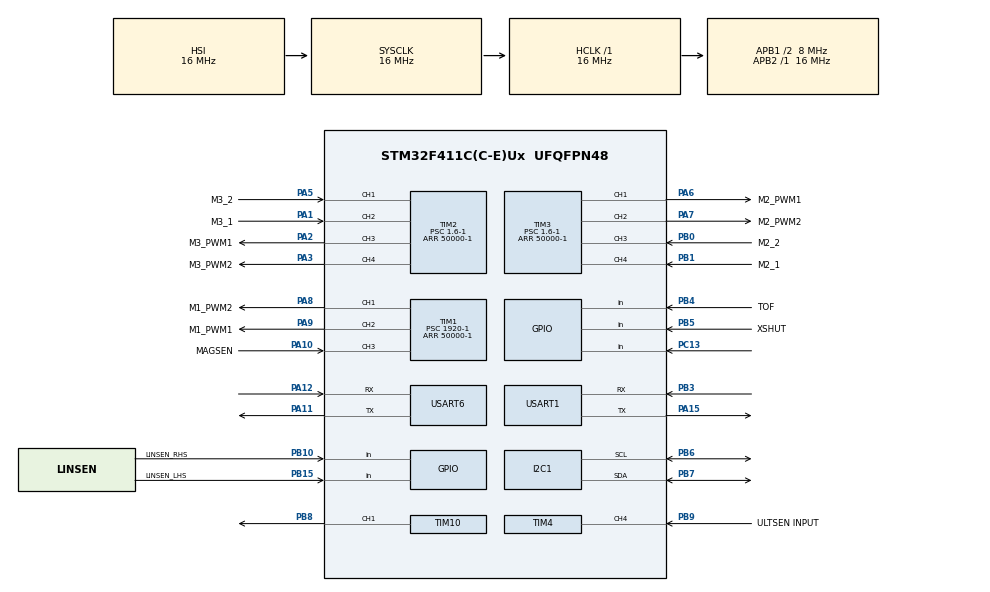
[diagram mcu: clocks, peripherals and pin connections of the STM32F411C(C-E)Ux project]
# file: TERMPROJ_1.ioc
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Mcu.Family=STM32F4
Mcu.Name=STM32F411C(C-E)Ux
Mcu.Package=UFQFPN48
NVIC.PriorityGroup=NVIC_PRIORITYGROUP_4
NVIC.TIM2_IRQn=true\:0\:0\:false\:false\:true\:true\:true\:true
NVIC.TIM3_IRQn=true\:0\:0\:false\:false\:true\:true\:true\:true
NVIC.TIM4_IRQn=true\:0\:0\:false\:false\:true\:true\:true\:true
PA1.GPIO_Label=M3_1
PA1.Signal=S_TIM2_CH2
PA10.GPIO_Label=MAGSEN
PA10.Signal=S_TIM1_CH3
PA11.Mode=Asynchronous
PA11.Signal=USART6_TX
PA12.Mode=Asynchronous
PA12.Signal=USART6_RX
PA13.Mode=Serial_Wire
PA13.Signal=SYS_JTMS-SWDIO
PA14.Mode=Serial_Wire
PA14.Signal=SYS_JTCK-SWCLK
PA15.Mode=Asynchronous
PA15.Signal=USART1_TX
PA2.GPIO_Label=M3_PWM1
PA2.Signal=S_TIM2_CH3
PA3.GPIO_Label=M3_PWM2
PA3.Signal=S_TIM2_CH4
PA5.GPIO_Label=M3_2
PA5.Signal=S_TIM2_CH1_ETR
PA6.GPIO_Label=M2_PWM1
PA6.Signal=S_TIM3_CH1
PA7.GPIO_Label=M2_PWM2
PA7.Signal=S_TIM3_CH2
PA8.GPIO_Label=M1_PWM2
PA8.Signal=S_TIM1_CH1
PA9.GPIO_Label=M1_PWM1
PA9.Signal=S_TIM1_CH2
PB0.GPIO_Label=M2_2
PB0.Signal=S_TIM3_CH3
PB1.GPIO_Label=M2_1
PB1.Signal=S_TIM3_CH4
PB10.GPIO_Label=LINSEN_RHS
PB10.Signal=GPIO_Input
PB15.GPIO_Label=LINSEN_LHS
PB15.Signal=GPIO_Input
PB3.Mode=Asynchronous
PB3.Signal=USART1_RX
PB4.GPIO_Label=TOF
PB4.Signal=GPIO_Input
PB5.GPIO_Label=XSHUT
PB5.Signal=GPIO_Input
PB6.Mode=I2C
PB6.Signal=I2C1_SCL
PB7.Mode=I2C
PB7.Signal=I2C1_SDA
PB8.Signal=S_TIM10_CH1
PB9.GPIO_Label=ULTSEN INPUT
PB9.Signal=S_TIM4_CH4
PC13-ANTI_TAMP.Signal=GPIO_Input
ProjectManager.HeapSize=0x200
ProjectManager.StackSize=0x400
ProjectManager.TargetToolchain=STM32CubeIDE
RCC.48MHZClocksFreq_Value=30720000
RCC.AHBFreq_Value=16000000
RCC.APB1CLKDivider=RCC_HCLK_DIV2
RCC.APB1Freq_Value=8000000
RCC.APB1TimFreq_Value=16000000
RCC.APB2Freq_Value=16000000
RCC.APB2TimFreq_Value=16000000
RCC.CortexFreq_Value=16000000
RCC.HCLKFreq_Value=16000000
RCC.HSE_VALUE=25000000
RCC.HSI_VALUE=16000000
RCC.PLLM=25
RCC.SYSCLKFreq_VALUE=16000000
RCC.VCOOutputFreq_Value=122880000
SH.S_TIM10_CH1.0=TIM10_CH1,PWM Generation1 CH1
SH.S_TIM1_CH1.0=TIM1_CH1,PWM Generation1 CH1
SH.S_TIM1_CH2.0=TIM1_CH2,PWM Generation2 CH2
SH.S_TIM1_CH3.0=TIM1_CH3,Input_Capture3_from_TI3
SH.S_TIM2_CH1_ETR.0=TIM2_CH1,Input_Capture1_from_TI1
SH.S_TIM2_CH2.0=TIM2_CH2,Input_Capture2_from_TI2
SH.S_TIM2_CH3.0=TIM2_CH3,PWM Generation3 CH3
SH.S_TIM2_CH4.0=TIM2_CH4,PWM Generation4 CH4
SH.S_TIM3_CH1.0=TIM3_CH1,PWM Generation1 CH1
SH.S_TIM3_CH2.0=TIM3_CH2,PWM Generation2 CH2
SH.S_TIM3_CH3.0=TIM3_CH3,Input_Capture3_from_TI3
SH.S_TIM3_CH4.0=TIM3_CH4,Input_Capture4_from_TI4
SH.S_TIM4_CH4.0=TIM4_CH4,Input_Capture4_from_TI4
TIM1.Channel-Input_Capture3_from_TI3=TIM_CHANNEL_3
TIM1.Channel-PWM\ Generation1\ CH1=TIM_CHANNEL_1
TIM1.Channel-PWM\ Generation2\ CH2=TIM_CHANNEL_2
TIM1.ICPolarity_CH3=TIM_INPUTCHANNELPOLARITY_BOTHEDGE
TIM1.Period=50000-1
TIM1.Prescaler=1920-1
TIM10.Channel=TIM_CHANNEL_1
TIM10.OCFastMode_PWM=TIM_OCFAST_DISABLE
TIM10.Period=10000-1
TIM10.Prescaler=16-1
TIM2.Channel-Input_Capture1_from_TI1=TIM_CHANNEL_1
TIM2.Channel-Input_Capture2_from_TI2=TIM_CHANNEL_2
TIM2.Channel-PWM\ Generation3\ CH3=TIM_CHANNEL_3
TIM2.Channel-PWM\ Generation4\ CH4=TIM_CHANNEL_4
TIM2.ICPolarity_CH1=TIM_INPUTCHANNELPOLARITY_BOTHEDGE
TIM2.ICPolarity_CH2=TIM_INPUTCHANNELPOLARITY_BOTHEDGE
TIM2.Period=50000-1
TIM2.Prescaler=1.6-1
TIM3.Channel-Input_Capture3_from_TI3=TIM_CHANNEL_3
TIM3.Channel-Input_Capture4_from_TI4=TIM_CHANNEL_4
TIM3.Channel-PWM\ Generation1\ CH1=TIM_CHANNEL_1
TIM3.Channel-PWM\ Generation2\ CH2=TIM_CHANNEL_2
TIM3.ICPolarity_CH3=TIM_INPUTCHANNELPOLARITY_BOTHEDGE
TIM3.ICPolarity_CH4=TIM_INPUTCHANNELPOLARITY_BOTHEDGE
TIM3.Period=50000-1
TIM3.Prescaler=1.6-1
TIM4.AutoReloadPreload=TIM_AUTORELOAD_PRELOAD_ENABLE
TIM4.Channel-Input_Capture4_from_TI4=TIM_CHANNEL_4
TIM4.ICPolarity_CH4=TIM_INPUTCHANNELPOLARITY_BOTHEDGE
TIM4.Period=10000-1
TIM4.Prescaler=16-1
USART1.VirtualMode=VM_ASYNC
USART6.VirtualMode=VM_ASYNC
VP_TIM10_VS_ClockSourceINT.Mode=Enable_Timer
VP_TIM4_VS_ClockSourceINT.Mode=Internal
board=custom

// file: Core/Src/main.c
/* USER CODE BEGIN Header */
/**
  ******************************************************************************
  * @file           : main.c
  * @brief          : Main program body
  ******************************************************************************
  * @attention
  *
  * Copyright (c) 2023 STMicroelectronics.
  * All rights reserved.
  *
  * This software is licensed under terms that can be found in the LICENSE file
  * in the root directory of this software component.
  * If no LICENSE file comes with this software, it is provided AS-IS.
  *
  ******************************************************************************
  */
/* USER CODE END Header */
#include "main.h"

/* USER CODE BEGIN Includes */
#include "stdint.h"
#include "stdio.h"

#include "UltraSonic.h"
#include "LineSen.h"
#include "vl53l0x_api.h"
#include "MOTOR_DRIVER.h"
#include "ENCODER.h"
#include "FollowLine.h"
/* USER CODE END Includes */

I2C_HandleTypeDef hi2c1;

TIM_HandleTypeDef htim1;
TIM_HandleTypeDef htim2;
TIM_HandleTypeDef htim3;
TIM_HandleTypeDef htim4;
TIM_HandleTypeDef htim10;

UART_HandleTypeDef huart1;
UART_HandleTypeDef huart6;

/* USER CODE BEGIN PV */
uint8_t MSG[40];

//ULTRASONIC
uint32_t ULTSENdist = 0;
uint32_t ULTSENdist_prev = 0;
uint8_t ULTSENstate = 0;
uint8_t ULTSENfirst_meas = 0;

//LINESENSOR VARIABLES
uint8_t LinSen_LHS = 0;
uint8_t Linsen_RHS = 0;

//TIME OF FLIGHT VARS
VL53L0X_RangingMeasurementData_t RangingData;
VL53L0X_Dev_t  vl53l0x_c; // center module
VL53L0X_DEV    Dev = &vl53l0x_c;

uint32_t refSpadCount;
uint8_t isApertureSpads;
uint8_t VhvSettings;
uint8_t PhaseCal;

uint8_t ENCL_MSG[35];
uint8_t ENCR_MSG[35];
/* USER CODE END PV */

void SystemClock_Config(void);
static void MX_GPIO_Init(void);
static void MX_I2C1_Init(void);
static void MX_TIM1_Init(void);
static void MX_TIM2_Init(void);
static void MX_TIM3_Init(void);
static void MX_TIM10_Init(void);
static void MX_USART1_UART_Init(void);
static void MX_USART6_UART_Init(void);
static void MX_TIM4_Init(void);

int main(void)
{

  /* MCU Configuration--------------------------------------------------------*/

  /* Reset of all peripherals, Initializes the Flash interface and the Systick. */
  HAL_Init();

  /* Configure the system clock */
  SystemClock_Config();

  /* Initialize all configured peripherals */
  MX_GPIO_Init();
  MX_I2C1_Init();
  MX_TIM1_Init();
  MX_TIM2_Init();
  MX_TIM3_Init();
  MX_TIM10_Init();
  MX_USART1_UART_Init();
  MX_USART6_UART_Init();
  MX_TIM4_Init();
  /* USER CODE BEGIN 2 */

  //**Initialize the ultrasonic sensor
  	  //Start the time that will trigger the sensor to send an echo
  	  UltraSonicStartPulse(htim10);
  	  //Wait for the response by starting timer 4 CH 4 on interrupt mode
  	  UltraSonicPrepInterrupt(htim4);

  //**Initialize the time of flight sensor
  	  //i2c address
  	  Dev->I2cHandle = &hi2c1;
  	  Dev->I2cDevAddr = 0x52;

  	  //Test xshut pin (standby pin)
  	  HAL_GPIO_WritePin(GPIOB, XSHUT_Pin, GPIO_PIN_RESET); // Disable XSHUT
  	  HAL_Delay(20);
  	  HAL_GPIO_WritePin(GPIOB, XSHUT_Pin, GPIO_PIN_SET); // Enable XSHUT
  	  HAL_Delay(20);

  	  // VL53L0X init for Single Measurement
  	  VL53L0X_WaitDeviceBooted( Dev );
  	  VL53L0X_DataInit( Dev );
  	  VL53L0X_StaticInit( Dev );
  	  VL53L0X_PerformRefCalibration(Dev, &VhvSettings, &PhaseCal);
  	  VL53L0X_PerformRefSpadManagement(Dev, &refSpadCount, &isApertureSpads);
  	  VL53L0X_SetDeviceMode(Dev, VL53L0X_DEVICEMODE_SINGLE_RANGING);

  	  // Enable/Disable Sigma and Signal check
  	  //this block was included in example code found
  	  VL53L0X_SetLimitCheckEnable(Dev, VL53L0X_CHECKENABLE_SIGMA_FINAL_RANGE, 1);
  	  VL53L0X_SetLimitCheckEnable(Dev, VL53L0X_CHECKENABLE_SIGNAL_RATE_FINAL_RANGE, 1);
  	  VL53L0X_SetLimitCheckValue(Dev, VL53L0X_CHECKENABLE_SIGNAL_RATE_FINAL_RANGE, (FixPoint1616_t)(0.1*65536));
  	  VL53L0X_SetLimitCheckValue(Dev, VL53L0X_CHECKENABLE_SIGMA_FINAL_RANGE, (FixPoint1616_t)(60*65536));
  	  VL53L0X_SetMeasurementTimingBudgetMicroSeconds(Dev, 33000);
  	  VL53L0X_SetVcselPulsePeriod(Dev, VL53L0X_VCSEL_PERIOD_PRE_RANGE, 18);
  	  VL53L0X_SetVcselPulsePeriod(Dev, VL53L0X_VCSEL_PERIOD_FINAL_RANGE, 14);

  	  //Start motor driver timers
  	  //RHS TIMERS
  	  HAL_TIM_PWM_Start(&htim2, TIM_CHANNEL_3);
  	  HAL_TIM_PWM_Start(&htim2, TIM_CHANNEL_4);

  	  //LHS TIMERS
  	  HAL_TIM_PWM_Start(&htim3, TIM_CHANNEL_1);
  	  HAL_TIM_PWM_Start(&htim3, TIM_CHANNEL_2);

  	  /*
  	  //Test the driver motor channels
  	  drivefwd_RHS(20);
  	  drivefwd_LHS(20);

  	  HAL_Delay(5000);

  	  driverev_RHS(20);
  	  driverev_LHS(20);

  	  HAL_Delay(5000);

  	  stop_LHS();
  	  stop_RHS();
  	  */

  	  //Initialize encoder timers
  	  HAL_TIM_Base_Start_IT(&htim2); //RHS CH1&2
  	  HAL_TIM_Base_Start_IT(&htim3); //LHS CH3&4

  	  //Initialize interrupts
  	  HAL_TIM_IC_Start_IT(&htim2, TIM_CHANNEL_1);
  	  HAL_TIM_IC_Start_IT(&htim2, TIM_CHANNEL_2);

  	  HAL_TIM_IC_Start_IT(&htim3, TIM_CHANNEL_3);
  	  HAL_TIM_IC_Start_IT(&htim3, TIM_CHANNEL_4);

  	  HAL_UART_Transmit(&huart1, "TEST\r\n",sizeof("TEST\r\n"),50);

  /* USER CODE END 2 */

  /* Infinite loop */
  /* USER CODE BEGIN WHILE */
  while (1)
  {

	 FollowLine2();

	  //GoInCircle();

	  /*
	  VL53L0X_PerformSingleRangingMeasurement(Dev, &RangingData);

	  if(RangingData.RangeStatus == 0)
	  {
	  	  sprintf(MSG, "Measured distance: %i\n\r", RangingData.RangeMilliMeter);
	  	  HAL_UART_Transmit(&huart1, MSG, sizeof(MSG), 100);

	  /*
	  //LINE SENSOR LOOP
	  LinSen_LHS = LineSenGetStatusLEFT();
	  if (LinSen_LHS == 0){
		  HAL_UART_Transmit(&huart1,"LEFT: OFF ",sizeof("LEFT: OFF "),50);
	  }
	  if (LinSen_LHS == 1){
		  HAL_UART_Transmit(&huart1,"LEFT: ON ",sizeof("LEFT: ON "),50);
	  }

	  LinSen_LHS = LineSenGetStatusRIGHT();
	  if (LinSen_LHS == 0){
		  HAL_UART_Transmit(&huart1,"RIGHT: OFF\r\n",sizeof("RIGHT: OFF\r\n"),50);
	  }
	  if (LinSen_LHS == 1){
		  HAL_UART_Transmit(&huart1,"RIGHT: ON\r\n",sizeof("RIGHT: ON\r\n"),50);
	  }
	  //HAL_Delay(1000);
	  */

    /* USER CODE END WHILE */

  }
}

void SystemClock_Config(void)
{
  RCC_OscInitTypeDef RCC_OscInitStruct = {0};
  RCC_ClkInitTypeDef RCC_ClkInitStruct = {0};

  /** Configure the main internal regulator output voltage
  */
  __HAL_RCC_PWR_CLK_ENABLE();
  __HAL_PWR_VOLTAGESCALING_CONFIG(PWR_REGULATOR_VOLTAGE_SCALE1);

  /** Initializes the RCC Oscillators according to the specified parameters
  * in the RCC_OscInitTypeDef structure.
  */
  RCC_OscInitStruct.OscillatorType = RCC_OSCILLATORTYPE_HSI;
  RCC_OscInitStruct.HSIState = RCC_HSI_ON;
  RCC_OscInitStruct.HSICalibrationValue = RCC_HSICALIBRATION_DEFAULT;
  RCC_OscInitStruct.PLL.PLLState = RCC_PLL_NONE;
  if (HAL_RCC_OscConfig(&RCC_OscInitStruct) != HAL_OK)
  {
    Error_Handler();
  }

  /** Initializes the CPU, AHB and APB buses clocks
  */
  RCC_ClkInitStruct.ClockType = RCC_CLOCKTYPE_HCLK|RCC_CLOCKTYPE_SYSCLK
                              |RCC_CLOCKTYPE_PCLK1|RCC_CLOCKTYPE_PCLK2;
  RCC_ClkInitStruct.SYSCLKSource = RCC_SYSCLKSOURCE_HSI;
  RCC_ClkInitStruct.AHBCLKDivider = RCC_SYSCLK_DIV1;
  RCC_ClkInitStruct.APB1CLKDivider = RCC_HCLK_DIV2;
  RCC_ClkInitStruct.APB2CLKDivider = RCC_HCLK_DIV1;

  if (HAL_RCC_ClockConfig(&RCC_ClkInitStruct, FLASH_LATENCY_0) != HAL_OK)
  {
    Error_Handler();
  }
}

static void MX_I2C1_Init(void)
{

  hi2c1.Instance = I2C1;
  hi2c1.Init.ClockSpeed = 100000;
  hi2c1.Init.DutyCycle = I2C_DUTYCYCLE_2;
  hi2c1.Init.OwnAddress1 = 0;
  hi2c1.Init.AddressingMode = I2C_ADDRESSINGMODE_7BIT;
  hi2c1.Init.DualAddressMode = I2C_DUALADDRESS_DISABLE;
  hi2c1.Init.OwnAddress2 = 0;
  hi2c1.Init.GeneralCallMode = I2C_GENERALCALL_DISABLE;
  hi2c1.Init.NoStretchMode = I2C_NOSTRETCH_DISABLE;
  if (HAL_I2C_Init(&hi2c1) != HAL_OK)
  {
    Error_Handler();
  }

}

static void MX_TIM1_Init(void)
{

  TIM_MasterConfigTypeDef sMasterConfig = {0};
  TIM_OC_InitTypeDef sConfigOC = {0};
  TIM_IC_InitTypeDef sConfigIC = {0};
  TIM_BreakDeadTimeConfigTypeDef sBreakDeadTimeConfig = {0};

  htim1.Instance = TIM1;
  htim1.Init.Prescaler = 1920-1;
  htim1.Init.CounterMode = TIM_COUNTERMODE_UP;
  htim1.Init.Period = 50000-1;
  htim1.Init.ClockDivision = TIM_CLOCKDIVISION_DIV1;
  htim1.Init.RepetitionCounter = 0;
  htim1.Init.AutoReloadPreload = TIM_AUTORELOAD_PRELOAD_DISABLE;
  if (HAL_TIM_PWM_Init(&htim1) != HAL_OK)
  {
    Error_Handler();
  }
  if (HAL_TIM_IC_Init(&htim1) != HAL_OK)
  {
    Error_Handler();
  }
  sMasterConfig.MasterOutputTrigger = TIM_TRGO_RESET;
  sMasterConfig.MasterSlaveMode = TIM_MASTERSLAVEMODE_DISABLE;
  if (HAL_TIMEx_MasterConfigSynchronization(&htim1, &sMasterConfig) != HAL_OK)
  {
    Error_Handler();
  }
  sConfigOC.OCMode = TIM_OCMODE_PWM1;
  sConfigOC.Pulse = 0;
  sConfigOC.OCPolarity = TIM_OCPOLARITY_HIGH;
  sConfigOC.OCNPolarity = TIM_OCNPOLARITY_HIGH;
  sConfigOC.OCFastMode = TIM_OCFAST_DISABLE;
  sConfigOC.OCIdleState = TIM_OCIDLESTATE_RESET;
  sConfigOC.OCNIdleState = TIM_OCNIDLESTATE_RESET;
  if (HAL_TIM_PWM_ConfigChannel(&htim1, &sConfigOC, TIM_CHANNEL_1) != HAL_OK)
  {
    Error_Handler();
  }
  if (HAL_TIM_PWM_ConfigChannel(&htim1, &sConfigOC, TIM_CHANNEL_2) != HAL_OK)
  {
    Error_Handler();
  }
  sConfigIC.ICPolarity = TIM_INPUTCHANNELPOLARITY_BOTHEDGE;
  sConfigIC.ICSelection = TIM_ICSELECTION_DIRECTTI;
  sConfigIC.ICPrescaler = TIM_ICPSC_DIV1;
  sConfigIC.ICFilter = 0;
  if (HAL_TIM_IC_ConfigChannel(&htim1, &sConfigIC, TIM_CHANNEL_3) != HAL_OK)
  {
    Error_Handler();
  }
  sBreakDeadTimeConfig.OffStateRunMode = TIM_OSSR_DISABLE;
  sBreakDeadTimeConfig.OffStateIDLEMode = TIM_OSSI_DISABLE;
  sBreakDeadTimeConfig.LockLevel = TIM_LOCKLEVEL_OFF;
  sBreakDeadTimeConfig.DeadTime = 0;
  sBreakDeadTimeConfig.BreakState = TIM_BREAK_DISABLE;
  sBreakDeadTimeConfig.BreakPolarity = TIM_BREAKPOLARITY_HIGH;
  sBreakDeadTimeConfig.AutomaticOutput = TIM_AUTOMATICOUTPUT_DISABLE;
  if (HAL_TIMEx_ConfigBreakDeadTime(&htim1, &sBreakDeadTimeConfig) != HAL_OK)
  {
    Error_Handler();
  }
  HAL_TIM_MspPostInit(&htim1);

}

static void MX_TIM2_Init(void)
{

  TIM_MasterConfigTypeDef sMasterConfig = {0};
  TIM_IC_InitTypeDef sConfigIC = {0};
  TIM_OC_InitTypeDef sConfigOC = {0};

  htim2.Instance = TIM2;
  htim2.Init.Prescaler = 1.6-1;
  htim2.Init.CounterMode = TIM_COUNTERMODE_UP;
  htim2.Init.Period = 50000-1;
  htim2.Init.ClockDivision = TIM_CLOCKDIVISION_DIV1;
  htim2.Init.AutoReloadPreload = TIM_AUTORELOAD_PRELOAD_DISABLE;
  if (HAL_TIM_IC_Init(&htim2) != HAL_OK)
  {
    Error_Handler();
  }
  if (HAL_TIM_PWM_Init(&htim2) != HAL_OK)
  {
    Error_Handler();
  }
  sMasterConfig.MasterOutputTrigger = TIM_TRGO_RESET;
  sMasterConfig.MasterSlaveMode = TIM_MASTERSLAVEMODE_DISABLE;
  if (HAL_TIMEx_MasterConfigSynchronization(&htim2, &sMasterConfig) != HAL_OK)
  {
    Error_Handler();
  }
  sConfigIC.ICPolarity = TIM_INPUTCHANNELPOLARITY_BOTHEDGE;
  sConfigIC.ICSelection = TIM_ICSELECTION_DIRECTTI;
  sConfigIC.ICPrescaler = TIM_ICPSC_DIV1;
  sConfigIC.ICFilter = 0;
  if (HAL_TIM_IC_ConfigChannel(&htim2, &sConfigIC, TIM_CHANNEL_1) != HAL_OK)
  {
    Error_Handler();
  }
  if (HAL_TIM_IC_ConfigChannel(&htim2, &sConfigIC, TIM_CHANNEL_2) != HAL_OK)
  {
    Error_Handler();
  }
  sConfigOC.OCMode = TIM_OCMODE_PWM1;
  sConfigOC.Pulse = 0;
  sConfigOC.OCPolarity = TIM_OCPOLARITY_HIGH;
  sConfigOC.OCFastMode = TIM_OCFAST_DISABLE;
  if (HAL_TIM_PWM_ConfigChannel(&htim2, &sConfigOC, TIM_CHANNEL_3) != HAL_OK)
  {
    Error_Handler();
  }
  if (HAL_TIM_PWM_ConfigChannel(&htim2, &sConfigOC, TIM_CHANNEL_4) != HAL_OK)
  {
    Error_Handler();
  }
  HAL_TIM_MspPostInit(&htim2);

}

static void MX_TIM3_Init(void)
{

  TIM_MasterConfigTypeDef sMasterConfig = {0};
  TIM_OC_InitTypeDef sConfigOC = {0};
  TIM_IC_InitTypeDef sConfigIC = {0};

  htim3.Instance = TIM3;
  htim3.Init.Prescaler = 1.6-1;
  htim3.Init.CounterMode = TIM_COUNTERMODE_UP;
  htim3.Init.Period = 50000-1;
  htim3.Init.ClockDivision = TIM_CLOCKDIVISION_DIV1;
  htim3.Init.AutoReloadPreload = TIM_AUTORELOAD_PRELOAD_DISABLE;
  if (HAL_TIM_PWM_Init(&htim3) != HAL_OK)
  {
    Error_Handler();
  }
  if (HAL_TIM_IC_Init(&htim3) != HAL_OK)
  {
    Error_Handler();
  }
  sMasterConfig.MasterOutputTrigger = TIM_TRGO_RESET;
  sMasterConfig.MasterSlaveMode = TIM_MASTERSLAVEMODE_DISABLE;
  if (HAL_TIMEx_MasterConfigSynchronization(&htim3, &sMasterConfig) != HAL_OK)
  {
    Error_Handler();
  }
  sConfigOC.OCMode = TIM_OCMODE_PWM1;
  sConfigOC.Pulse = 0;
  sConfigOC.OCPolarity = TIM_OCPOLARITY_HIGH;
  sConfigOC.OCFastMode = TIM_OCFAST_DISABLE;
  if (HAL_TIM_PWM_ConfigChannel(&htim3, &sConfigOC, TIM_CHANNEL_1) != HAL_OK)
  {
    Error_Handler();
  }
  if (HAL_TIM_PWM_ConfigChannel(&htim3, &sConfigOC, TIM_CHANNEL_2) != HAL_OK)
  {
    Error_Handler();
  }
  sConfigIC.ICPolarity = TIM_INPUTCHANNELPOLARITY_BOTHEDGE;
  sConfigIC.ICSelection = TIM_ICSELECTION_DIRECTTI;
  sConfigIC.ICPrescaler = TIM_ICPSC_DIV1;
  sConfigIC.ICFilter = 0;
  if (HAL_TIM_IC_ConfigChannel(&htim3, &sConfigIC, TIM_CHANNEL_3) != HAL_OK)
  {
    Error_Handler();
  }
  if (HAL_TIM_IC_ConfigChannel(&htim3, &sConfigIC, TIM_CHANNEL_4) != HAL_OK)
  {
    Error_Handler();
  }
  HAL_TIM_MspPostInit(&htim3);

}

static void MX_TIM4_Init(void)
{

  TIM_ClockConfigTypeDef sClockSourceConfig = {0};
  TIM_MasterConfigTypeDef sMasterConfig = {0};
  TIM_IC_InitTypeDef sConfigIC = {0};

  htim4.Instance = TIM4;
  htim4.Init.Prescaler = 16-1;
  htim4.Init.CounterMode = TIM_COUNTERMODE_UP;
  htim4.Init.Period = 10000-1;
  htim4.Init.ClockDivision = TIM_CLOCKDIVISION_DIV1;
  htim4.Init.AutoReloadPreload = TIM_AUTORELOAD_PRELOAD_ENABLE;
  if (HAL_TIM_Base_Init(&htim4) != HAL_OK)
  {
    Error_Handler();
  }
  sClockSourceConfig.ClockSource = TIM_CLOCKSOURCE_INTERNAL;
  if (HAL_TIM_ConfigClockSource(&htim4, &sClockSourceConfig) != HAL_OK)
  {
    Error_Handler();
  }
  if (HAL_TIM_IC_Init(&htim4) != HAL_OK)
  {
    Error_Handler();
  }
  sMasterConfig.MasterOutputTrigger = TIM_TRGO_RESET;
  sMasterConfig.MasterSlaveMode = TIM_MASTERSLAVEMODE_DISABLE;
  if (HAL_TIMEx_MasterConfigSynchronization(&htim4, &sMasterConfig) != HAL_OK)
  {
    Error_Handler();
  }
  sConfigIC.ICPolarity = TIM_INPUTCHANNELPOLARITY_BOTHEDGE;
  sConfigIC.ICSelection = TIM_ICSELECTION_DIRECTTI;
  sConfigIC.ICPrescaler = TIM_ICPSC_DIV1;
  sConfigIC.ICFilter = 0;
  if (HAL_TIM_IC_ConfigChannel(&htim4, &sConfigIC, TIM_CHANNEL_4) != HAL_OK)
  {
    Error_Handler();
  }

}

static void MX_TIM10_Init(void)
{

  TIM_OC_InitTypeDef sConfigOC = {0};

  htim10.Instance = TIM10;
  htim10.Init.Prescaler = 16-1;
  htim10.Init.CounterMode = TIM_COUNTERMODE_UP;
  htim10.Init.Period = 10000-1;
  htim10.Init.ClockDivision = TIM_CLOCKDIVISION_DIV1;
  htim10.Init.AutoReloadPreload = TIM_AUTORELOAD_PRELOAD_DISABLE;
  if (HAL_TIM_Base_Init(&htim10) != HAL_OK)
  {
    Error_Handler();
  }
  if (HAL_TIM_PWM_Init(&htim10) != HAL_OK)
  {
    Error_Handler();
  }
  sConfigOC.OCMode = TIM_OCMODE_PWM1;
  sConfigOC.Pulse = 0;
  sConfigOC.OCPolarity = TIM_OCPOLARITY_HIGH;
  sConfigOC.OCFastMode = TIM_OCFAST_DISABLE;
  if (HAL_TIM_PWM_ConfigChannel(&htim10, &sConfigOC, TIM_CHANNEL_1) != HAL_OK)
  {
    Error_Handler();
  }
  HAL_TIM_MspPostInit(&htim10);

}

static void MX_USART1_UART_Init(void)
{

  huart1.Instance = USART1;
  huart1.Init.BaudRate = 115200;
  huart1.Init.WordLength = UART_WORDLENGTH_8B;
  huart1.Init.StopBits = UART_STOPBITS_1;
  huart1.Init.Parity = UART_PARITY_NONE;
  huart1.Init.Mode = UART_MODE_TX_RX;
  huart1.Init.HwFlowCtl = UART_HWCONTROL_NONE;
  huart1.Init.OverSampling = UART_OVERSAMPLING_16;
  if (HAL_UART_Init(&huart1) != HAL_OK)
  {
    Error_Handler();
  }

}

static void MX_USART6_UART_Init(void)
{

  huart6.Instance = USART6;
  huart6.Init.BaudRate = 115200;
  huart6.Init.WordLength = UART_WORDLENGTH_8B;
  huart6.Init.StopBits = UART_STOPBITS_1;
  huart6.Init.Parity = UART_PARITY_NONE;
  huart6.Init.Mode = UART_MODE_TX_RX;
  huart6.Init.HwFlowCtl = UART_HWCONTROL_NONE;
  huart6.Init.OverSampling = UART_OVERSAMPLING_16;
  if (HAL_UART_Init(&huart6) != HAL_OK)
  {
    Error_Handler();
  }

}

static void MX_GPIO_Init(void)
{
  GPIO_InitTypeDef GPIO_InitStruct = {0};

  /* GPIO Ports Clock Enable */
  __HAL_RCC_GPIOC_CLK_ENABLE();
  __HAL_RCC_GPIOA_CLK_ENABLE();
  __HAL_RCC_GPIOB_CLK_ENABLE();

  /*Configure GPIO pin : PC13 */
  GPIO_InitStruct.Pin = GPIO_PIN_13;
  GPIO_InitStruct.Mode = GPIO_MODE_INPUT;
  GPIO_InitStruct.Pull = GPIO_NOPULL;
  HAL_GPIO_Init(GPIOC, &GPIO_InitStruct);

  /*Configure GPIO pins : LINSEN_RHS_Pin LINSEN_LHS_Pin TOF_Pin XSHUT_Pin */
  GPIO_InitStruct.Pin = LINSEN_RHS_Pin|LINSEN_LHS_Pin|TOF_Pin|XSHUT_Pin;
  GPIO_InitStruct.Mode = GPIO_MODE_INPUT;
  GPIO_InitStruct.Pull = GPIO_NOPULL;
  HAL_GPIO_Init(GPIOB, &GPIO_InitStruct);

}

/* USER CODE BEGIN 4 */
void HAL_TIM_IC_CaptureCallback(TIM_HandleTypeDef *htim)
{

	//Check if ultrasonic timer capture triggered the interrupt
	if (htim->Instance == htim4.Instance){
		if (ULTSENstate == 1){//Capture the end of the pulse
			UltraSonicCalcDist(htim);
			ULTSENdist_prev = ULTSENdist;
			ULTSENdist = UltraSonicGetDist(htim);
			if (ULTSENdist > 100*ULTSENdist_prev && ULTSENfirst_meas != 0){
				ULTSENstate = 0;
				ULTSENdist = ULTSENdist_prev;
			}
			else{ //Take first measurement
				ULTSENstate = 0;
				if (ULTSENfirst_meas = 0){
					ULTSENfirst_meas = 1;
				}
				if (ULTSENdist < 100000){//Check if distance is unreasonable
					sprintf(MSG,"Distance away: %ld mil\r\n", ULTSENdist);
					HAL_UART_Transmit(&huart1, MSG, sizeof(MSG), 100);
				}
			}

		}
		else{//Capture the leading edge of the pulse
			UltraSonicCalcDist(htim);
			ULTSENstate++;
		}

		//sprintf(MSG,"Interrupt Triggered\r\n");
		//HAL_UART_Transmit(&huart1, MSG, sizeof(MSG), 100);
	}

	//Encoder
	if (htim->Instance == htim2.Instance){
		uint16_t ENCR = enc_display_pulses_RHS(htim);
		sprintf(ENCR_MSG,"RHS ENC: %ld\r\n",ENCR);
		//HAL_UART_Transmit(&huart1, ENCR_MSG, sizeof(ENCR_MSG), 100);
		//HAL_UART_Transmit(&huart1, "RHS\r\n", sizeof("RHS\r\n"), 100);
	}
	if (htim->Instance == htim3.Instance){
		uint16_t ENCL = enc_display_pulses_LHS(htim);
		sprintf(ENCL_MSG,"LHS ENC: %ld\r\n",ENCL);
		//HAL_UART_Transmit(&huart1, ENCL_MSG, sizeof(ENCL_MSG), 100);
		//HAL_UART_Transmit(&huart1, "LHS\r\n", sizeof("LHS\r\n"), 100);
	}
		//HAL_UART_Transmit(&huart1, "B\r\n",sizeof("B\r\n"),50);

}
/* USER CODE END 4 */

void Error_Handler(void)
{
  __disable_irq();
  while (1)
  {
  }
}
